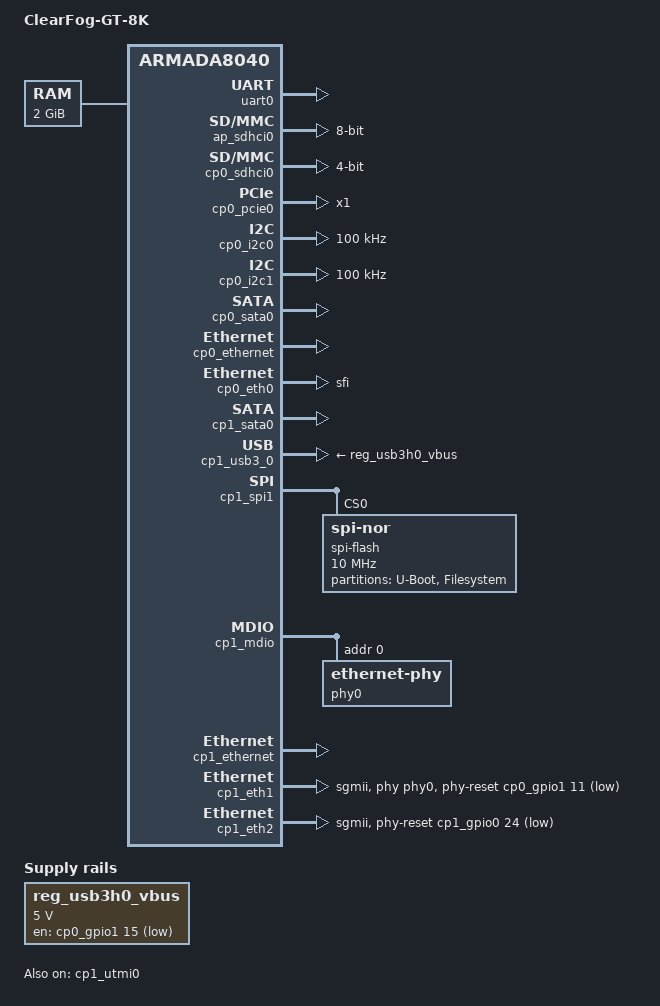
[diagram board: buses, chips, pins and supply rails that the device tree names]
// SPDX-License-Identifier: GPL-2.0
/*
 * Copyright (C) 2018 SolidRun ltd
 */

#include "armada-8040.dtsi"

/ {
	model = "ClearFog-GT-8K";
	compatible = "solidrun,clearfog-gt-8k",
		     "marvell,armada8040";

	chosen {
		stdout-path = "serial0:115200n8";
	};

	aliases {
		i2c0 = &cp0_i2c0;
		i2c1 = &cp0_i2c1;
		spi0 = &cp1_spi1;
	};

	memory@00000000 {
		device_type = "memory";
		reg = <0x0 0x0 0x0 0x80000000>;
	};

	simple-bus {
		compatible = "simple-bus";

		reg_usb3h0_vbus: usb3-vbus0 {
			compatible = "regulator-fixed";
			pinctrl-names = "default";
			pinctrl-0 = <&cp0_xhci_vbus_pins>;
			regulator-name = "reg-usb3h0-vbus";
			regulator-min-microvolt = <5000000>;
			regulator-max-microvolt = <5000000>;
			startup-delay-us = <300000>;
			shutdown-delay-us = <500000>;
			regulator-force-boot-off;
			gpio = <&cp0_gpio1 15 GPIO_ACTIVE_LOW>; /* GPIO[47] */
		};
	};
};

&uart0 {
	status = "okay";
};

&ap_pinctl {
	/*
	 * MPP Bus:
	 * eMMC [0-10]
	 * UART0 [11,19]
	 */
		  /* 0 1 2 3 4 5 6 7 8 9 */
	pin-func = < 1 1 1 1 1 1 1 1 1 1
		     1 3 0 0 0 0 0 0 0 3 >;
};

/* on-board eMMC */
&ap_sdhci0 {
	pinctrl-names = "default";
	pinctrl-0 = <&ap_emmc_pins>;
	bus-width = <8>;
	status = "okay";
};

&cp0_pinctl {
	/*
	 * MPP Bus:
	 * [0-31] = 0xff: Keep default CP0_shared_pins:
	 * [11] CLKOUT_MPP_11 (out)
	 * [23] LINK_RD_IN_CP2CP (in)
	 * [25] CLKOUT_MPP_25 (out)
	 * [29] AVS_FB_IN_CP2CP (in)
	 * [32, 33, 34] pci0/1/2 reset
	 * [35-38] CP0 I2C1 and I2C0
	 * [39] GPIO reset button
	 * [40,41] LED0 and LED1
	 * [43] 1512 phy reset
	 * [47] USB VBUS EN (active low)
	 * [48] FAN PWM
	 * [49] SFP+ present signal
	 * [50] TPM interrupt
	 * [51] WLAN0 disable
	 * [52] WLAN1 disable
	 * [53] LTE disable
	 * [54] NFC reset
	 * [55] Micro SD card detect
	 * [56-61] Micro SD
	 */
		/*   0    1    2    3    4    5    6    7    8    9 */
	pin-func = < 0xff 0xff 0xff 0xff 0xff 0xff 0xff 0xff 0xff 0xff
		     0xff 0xff 0xff 0xff 0xff 0xff 0xff 0xff 0xff 0xff
		     0xff 0xff 0xff 0xff 0xff 0xff 0xff 0xff 0xff 0xff
		     0xff 0    0    0    0    2    2    2    2    0
		     0    0    0    0    0    0    0    0    0    0
		     0    0    0    0    0    0    0xe  0xe  0xe  0xe
		     0xe  0xe  0 >;

	cp0_pcie_reset_pins: cp0-pcie-reset-pins {
		marvell,pins = < 32 >;
		marvell,function = <0>;
	};

	cp0_xhci_vbus_pins: cp0-xhci-vbus-pins {
		marvell,pins = < 47 >;
		marvell,function = <0>;
	};

	cp1_1g_phy_reset: cp1-1g-phy-reset {
		marvell,pins = < 43 >;
		marvell,function = <0>;
	};
};

/* uSD slot */
&cp0_sdhci0 {
	pinctrl-names = "default";
	pinctrl-0 = <&cp0_sdhci_pins>;
	bus-width = <4>;
	status = "okay";
};

&cp0_pcie0 {
	num-lanes = <1>;
	pinctrl-names = "default";
	pinctrl-0 = <&cp0_pcie_reset_pins>;
	marvell,reset-gpio = <&cp0_gpio1 0 GPIO_ACTIVE_LOW>;
	status = "okay";
};

&cp0_i2c0 {
	pinctrl-names = "default";
	pinctrl-0 = <&cp0_i2c0_pins>;
	status = "okay";
	clock-frequency = <100000>;
};

&cp0_i2c1 {
	pinctrl-names = "default";
	pinctrl-0 = <&cp0_i2c1_pins>;
	status = "okay";
	clock-frequency = <100000>;
};

&cp0_sata0 {
	status = "okay";
};

&cp0_comphy {
	/*
	 * CP0 Serdes Configuration:
	 * Lane 0: PCIe0 (x1)
	 * Lane 1: Not connected
	 * Lane 2: SFI0 (10G)
	 * Lane 3: Not connected
	 * Lane 4: USB 3.0 host port1 (can be PCIe)
	 * Lane 5: Not connected
	 */
	phy0 {
		phy-type = <COMPHY_TYPE_PEX0>;
	};
	phy1 {
		phy-type = <COMPHY_TYPE_UNCONNECTED>;
	};
	phy2 {
		phy-type = <COMPHY_TYPE_SFI0>;
	};
	phy3 {
		phy-type = <COMPHY_TYPE_UNCONNECTED>;
	};
	phy4 {
		phy-type = <COMPHY_TYPE_USB3_HOST1>;
	};
	phy5 {
		phy-type = <COMPHY_TYPE_UNCONNECTED>;
	};
};

&cp0_ethernet {
        pinctrl-names = "default";
        status = "okay";
};

/* 10G SFI SFP */
&cp0_eth0 {
        status = "okay";
        phy-mode = "sfi";
};

&cp1_sata0 {
	status = "okay";
};

&cp1_usb3_0 {
	vbus-supply = <&reg_usb3h0_vbus>;
	status = "okay";
};

&cp1_utmi0 {
	status = "okay";
};

&cp1_pinctl {
	/*
	 * MPP Bus:
	 * [0-5] TDM
	 * [6]   VHV Enable
	 * [7]   CP1 SPI0 CSn1 (FXS)
	 * [8]   CP1 SPI0 CSn0 (TPM)
	 * [9.11]CP1 SPI0 MOSI/MISO/CLK
	 * [13]  CP1 SPI1 MISO (TDM and SPI ROM shared)
	 * [14]  CP1 SPI1 CS0n (64Mb SPI ROM)
	 * [15]  CP1 SPI1 MOSI (TDM and SPI ROM shared)
	 * [16]  CP1 SPI1 CLK (TDM and SPI ROM shared)
	 * [24]  Topaz switch reset
	 * [26]  Buzzer
	 * [27]  CP1 SMI MDIO
	 * [28]  CP1 SMI MDC
	 * [29]  CP0 10G SFP TX Disable
	 * [30]  WPS button
	 * [31]  Front panel button
	 * [32-62] = 0xff: Keep default CP1_shared_pins:
	 */
		/*   0    1    2    3    4    5    6    7    8    9 */
	pin-func = < 0x4  0x4  0x4  0x4  0x4  0x4  0x0  0x4  0x4  0x4
		     0x4  0x4  0x0  0x3  0x3  0x3  0x3  0xff 0xff 0xff
		     0xff 0xff 0xff 0xff 0x0  0xff 0x0  0x8  0x8  0x0
		     0x0  0x0  0x0  0xff 0xff 0xff 0xff 0xff 0xff 0xff
		     0xff 0xff 0xff 0xff 0xff 0xff 0xff 0xff 0xff 0xff
		     0xff 0xff 0xff 0xff 0xff 0xff 0xff 0xff 0xff 0xff
		     0xff 0xff 0xff>;
};

&cp1_spi1 {
	pinctrl-names = "default";
	pinctrl-0 = <&cp1_spi1_pins>;
	status = "okay";

	spi-flash@0 {
		compatible = "jedec,spi-nor";
		reg = <0>;
		spi-max-frequency = <10000000>;

		partitions {
			compatible = "fixed-partitions";
			#address-cells = <1>;
			#size-cells = <1>;

			partition@0 {
				label = "U-Boot";
				reg = <0 0x200000>;
			};
			partition@200000 {
				label = "Filesystem";
				reg = <0x200000 0xce0000>;
			};
		};
	};
};

&cp1_comphy {
	/*
	 * CP1 Serdes Configuration:
	 * Lane 0: SATA 1 (RX swapped). Can be PCIe0
	 * Lane 1: Not used
	 * Lane 2: USB HOST 0
	 * Lane 3: SGMII1 - Connected to 1512 port
	 * Lane 4: Not used
	 * Lane 5: SGMII2 - Connected to Topaz switch
	 */
	phy0 {
		phy-type = <COMPHY_TYPE_SATA1>;
		phy-invert = <COMPHY_POLARITY_RXD_INVERT>;
	};
	phy1 {
		phy-type = <COMPHY_TYPE_UNCONNECTED>;
	};
	phy2 {
		phy-type = <COMPHY_TYPE_USB3_HOST0>;
	};
	phy3 {
		phy-type = <COMPHY_TYPE_SGMII1>;
		phy-speed = <COMPHY_SPEED_1_25G>;
	};
	phy4 {
		phy-type = <COMPHY_TYPE_UNCONNECTED>;
	};
	phy5 {
		phy-type = <COMPHY_TYPE_SGMII2>;
		phy-speed = <COMPHY_SPEED_3_125G>;
	};
};

&cp1_mdio {
	status = "okay";
	phy0: ethernet-phy@0 {
		reg = <0>;
	};
};

&cp1_ethernet {
	pinctrl-names = "default";
	pinctrl-0 = <&cp1_1g_phy_reset>;
	status = "okay";
};

/* 1G SGMII */
&cp1_eth1 {
	status = "okay";
	phy-mode = "sgmii";
	phy = <&phy0>;
	phy-reset-gpios = <&cp0_gpio1 11 GPIO_ACTIVE_LOW>;
};

/* 2.5G to Topaz switch */
&cp1_eth2 {
	status = "okay";
	phy-mode = "sgmii";
	phy-speed = <2500>;
	phy-reset-gpios = <&cp1_gpio0 24 GPIO_ACTIVE_LOW>;
};
